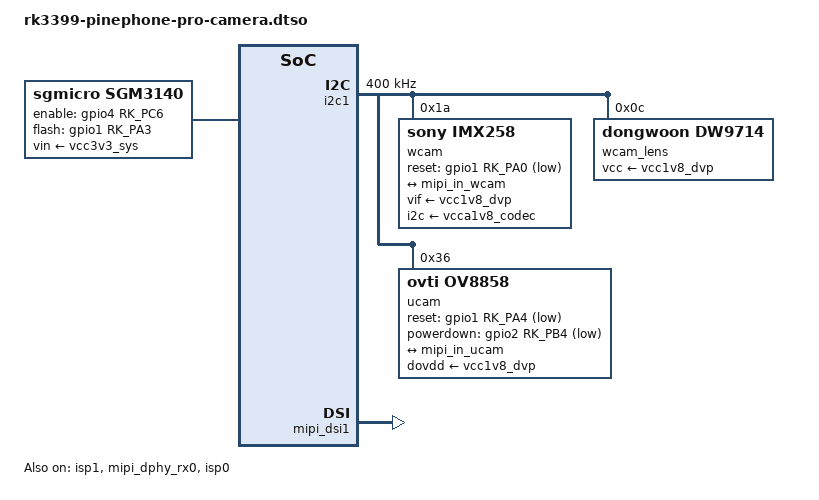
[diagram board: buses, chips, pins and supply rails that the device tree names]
// STATUS (2024-11-25):
// - can't get an image
// - ov8858 shows up in `media-ctl -d 1 --print-topology`
// - imx258 doesn't show up in any `media-ctl` or `v4l2-ctl` commands, but does show in `modprobe` and `dmesg`
// - pmOS claims it should work in megapixels 2.x and snapshot/gnome camera: <https://wiki.postmarketos.org/wiki/PINE64_PinePhone_Pro_(pine64-pinephonepro)#Camera>
// - pmOS has IMX258 debugging info: <https://wiki.pine64.org/wiki/PinePhone_Pro/IMX258_Camera_Debugging>
//   - <https://elinux.org/images/9/94/ISP-presentation.pdf>
//
// this is taken mostly verbatim from pine64-org / megi.
// only minimal checking against the datasheet.
// see pine64-org/linux commits:
// - 41742e56f573b90c002293a1d12d0e5ecee7ec87 for device-tree
// - 43243704827563df8410431da6d73ed25e379de8 for SCLK_CIF_OUT_SRC export (touches drivers/clk/rockchip/clk-rk3399.c)
//
// overview:
// - front cam: OV8858  (ucam = "user-facing camera" (i'm guessing))
// - rear cam: IMX258  (wcam = "world-facing camera")
// MIPI = Mobile Industry Processor Interface
// MIPI-DSI = MIPI Display Serial Interface
// MIPI-CSI = MIPI Camera Serial Interface
// - <https://en.wikipedia.org/wiki/Camera_Serial_Interface>
// - 1 clock lane + N data lanes  (PPP cameras use 4 data lanes)
// - each data line is two wires, because it uses differential signalling
// CCS = Camera Command Set
// - defines standard set of functionalities for CSI-2 devices
// DVP = Digital Video Port
//
// IMX258:
// - MIPI_RX0_D{0,1,2,3}{P,N}
// - MIPI_RX0_CLK{P,N}
// - MIPI_MCLK0
// - MIPI_RST0
// - DVP_PDN1_H1
// - I2C1_SDA
// - (I2C1_SCL)
// :: power:
// - VCC1V8_DVP
// - DVDD_DVP
// - VCC2V8_DVP
// - AVDD2V8_DVP
//
// OV8858:
// - identical wiring to IMC258, but uses MIPI 1 instead of MIPI 0.
// - uses same I2C1_{SDA,SCL}
// - uses same power rails
//
// - MIPI_MCLK0, MIPI_MCLK1 are tied to CIF_CLKO via 22ohm resistors
// - DVDD_DVP = VCC1V2_DVP
//
// STATUS:
// - power:
//   - [x] VCC1V8_DVP: enabled in mainline
//   - [?] DVDD_DVP (VCC1V2_DVP)
//   - [?] VCC2V8_DVP: PROBABLY enabled in mainline, as "vcc2v8_lcd"
//     other DTS files reference `vcc2v8_dvp`, but pine64-org's dts does *not*, nor does mainline's
//   - [?] AVDD2V8_DVP: NOT ENABLED
//     but seemingly not used in megi or pine64-org DTS

// for SCLK_CIF_OUT
#include <dt-bindings/clock/rk3399-cru.h>
// for GPIO_ACTIVE_LOW
#include <dt-bindings/gpio/gpio.h>
// for LED_FUNCTION_FLASH
#include <dt-bindings/leds/common.h>
// for RK_PA4, other pins
#include <dt-bindings/pinctrl/rockchip.h>

/dts-v1/;
/plugin/;

/ {
        /* ensure this overlay applies only to the correct board */
        compatible = "pine64,pinephone-pro";
};

&{/} {
       sgm3140: led-controller {
               compatible = "sgmicro,sgm3140";
               vin-supply = <&vcc3v3_sys>;
               pinctrl-names = "default";
               pinctrl-0 = <&flash_pins>;
               enable-gpios = <&gpio4 RK_PC6 GPIO_ACTIVE_HIGH>;
               flash-gpios = <&gpio1 RK_PA3 GPIO_ACTIVE_HIGH>;

               sgm3140_flash: led {
                       function = LED_FUNCTION_FLASH;
                       color = <LED_COLOR_ID_WHITE>;
                       flash-max-timeout-us = <250000>;
               };
       };
};

/* MEGI CLAIMS:
 * ============
 * Cameras:
 *
 * cif clk out = gpio2 B3 / CIF_CLKOUTA_u
 *
 * both on i2c1  GPIO4_A1 (SDA) / GPIO4_A2 (SCL)
 *
 * both share power:
 * VCC1V8_DVP         - LDO7  - supplied by VCC7 (VCC3V3_SYS)
 * DVDD_DVP     1.5V  - autoenabled by VCC2V8_DVP   depends on VCC1V8_S3 (U118 supplies 1.2V, though, not 1.5V)
 * VCC2V8_DVP   af    - autoenabled by VCC1V8_DVP   depends on VCC3V3_SYS
 * AVDD2V8_DVP        - autoenabled by VCC1V8_DVP   depends on VCC3V3_SYS
 *
 * isp1 = imx258
 *   reset = GPIO1_A0
 *   powerdown = GPIO2_B4
 *
 * isp0 = OV8858
 *   powerdown = GPIO2_D4
 *   reset = GPIO1_A4
 */
&i2c1 {
        status = "okay";

        clock-frequency = <400000>;
        i2c-scl-rising-time-ns = <300>;
        i2c-scl-falling-time-ns = <15>;

        pinctrl-0 = <&i2c1_xfer &cif_clkouta>;

        assigned-clocks = <&cru SCLK_CIF_OUT>;
        assigned-clock-rates = <24000000>;
        // assigned-clocks = <&cru SCLK_CIF_OUT &cru SCLK_CIF_OUT_SRC>;
        // assigned-clock-parents = <&cru SCLK_CIF_OUT_SRC &cru PLL_GPLL>;
        // assigned-clock-rates = <19200000 0>;

        wcam: camera@1a {
                compatible = "sony,imx258";
                reg = <0x1a>;
                pinctrl-names = "default";
                pinctrl-0 = <&wcam_rst>;  //< megi (2024-05-25)
                // pinctrl-0 = <&wcam_rst &wcam_pdn>;  //< pine64-org

                clocks = <&cru SCLK_CIF_OUT>;
                clock-names = "xvclk";

                vif-supply = <&vcc1v8_dvp>;
                i2c-supply = <&vcca1v8_codec>;
                /*XXX: also depends on vcca1v8_codec for I2C bus power (currently always on) */

                reset-gpios = <&gpio1 RK_PA0 GPIO_ACTIVE_LOW>;
                // powerdown-gpios = <&gpio2 RK_PD4 GPIO_ACTIVE_HIGH>;  //< megi removed this (2024-05-25)

                orientation = <1>;
                rotation = <270>;

                lens-focus = <&wcam_lens>;
                flash-leds = <&sgm3140_flash>;

                port {
                        wcam_out: endpoint {
                                remote-endpoint = <&mipi_in_wcam>;
                                data-lanes = <1 2 3 4>;
                                link-frequencies = /bits/ 64 <636000000>;  //< seems to be optional
                        };
                };
        };

        wcam_lens: camera-lens@c {
                compatible = "dongwoon,dw9714";
                reg = <0x0c>;
                /*XXX: also depends on vcca1v8_codec for I2C bus power */
                vcc-supply = <&vcc1v8_dvp>;
        };

        ucam: camera@36 {
                compatible = "ovti,ov8858";
                reg = <0x36>;
                pinctrl-names = "default";
                pinctrl-0 = <&ucam_pdn &ucam_rst>;

                clocks = <&cru SCLK_CIF_OUT>;
                clock-names = "xvclk";

                dovdd-supply = <&vcc1v8_dvp>;
                /*XXX: also depends on vcca1v8_codec for I2C bus power */

                reset-gpios = <&gpio1 RK_PA4 GPIO_ACTIVE_LOW>;
                powerdown-gpios = <&gpio2 RK_PB4 GPIO_ACTIVE_LOW>;

                /* we're using forward ported BSP driver, thus: */
                rockchip,camera-module-index = <0x00>;
                rockchip,camera-module-facing = "front";
                rockchip,camera-module-name = "CameraKing";
                rockchip,camera-module-lens-name = "Largan-9569A2";

                orientation = <0>;
                rotation = <90>;

                port {
                        ucam_out: endpoint {
                                remote-endpoint = <&mipi_in_ucam>;
                                data-lanes = <1 2 3 4>;
                        };
                };
        };
};

&pinctrl {
        camera {
                wcam_rst: wcam-rst {
                        rockchip,pins = <1 RK_PA0 RK_FUNC_GPIO &pcfg_pull_none>;
                };
                // wcam_pdn: wcam-pdn {  //< megi removed this (2024-05-25)
                //         rockchip,pins = <2 RK_PD4 RK_FUNC_GPIO &pcfg_pull_none>;
                // };

                ucam_rst: ucam-rst {
                        rockchip,pins = <1 RK_PA4 RK_FUNC_GPIO &pcfg_pull_none>;
                };
                ucam_pdn: ucam-pdn {
                        rockchip,pins = <2 RK_PB4 RK_FUNC_GPIO &pcfg_pull_none>;
                };
        };
        leds {
                flash_pins: flash-pins {
                        rockchip,pins =
                                <1 RK_PA3 RK_FUNC_GPIO &pcfg_pull_none>,
                                <4 RK_PC6 RK_FUNC_GPIO &pcfg_pull_none>;
                };
        };
};

&isp1 {
       status = "okay";

       ports {
               port@0 {
                       mipi_in_wcam: endpoint@0 {
                               reg = <0>;
                               remote-endpoint = <&wcam_out>;
                               data-lanes = <1 2 3 4>;
                       };
               };
       };
};

&mipi_dphy_rx0 {
       status = "okay";
};

&isp0 {
       status = "okay";

       ports {
               port@0 {
                       mipi_in_ucam: endpoint@0 {
                               reg = <0>;
                               remote-endpoint = <&ucam_out>;
                               data-lanes = <1 2 3 4>;
                       };
               };
       };
};

&isp0_mmu {
       status = "okay";
};

&isp1_mmu {
       status = "okay";
};

&mipi_dsi1 {
       status = "okay";
};
